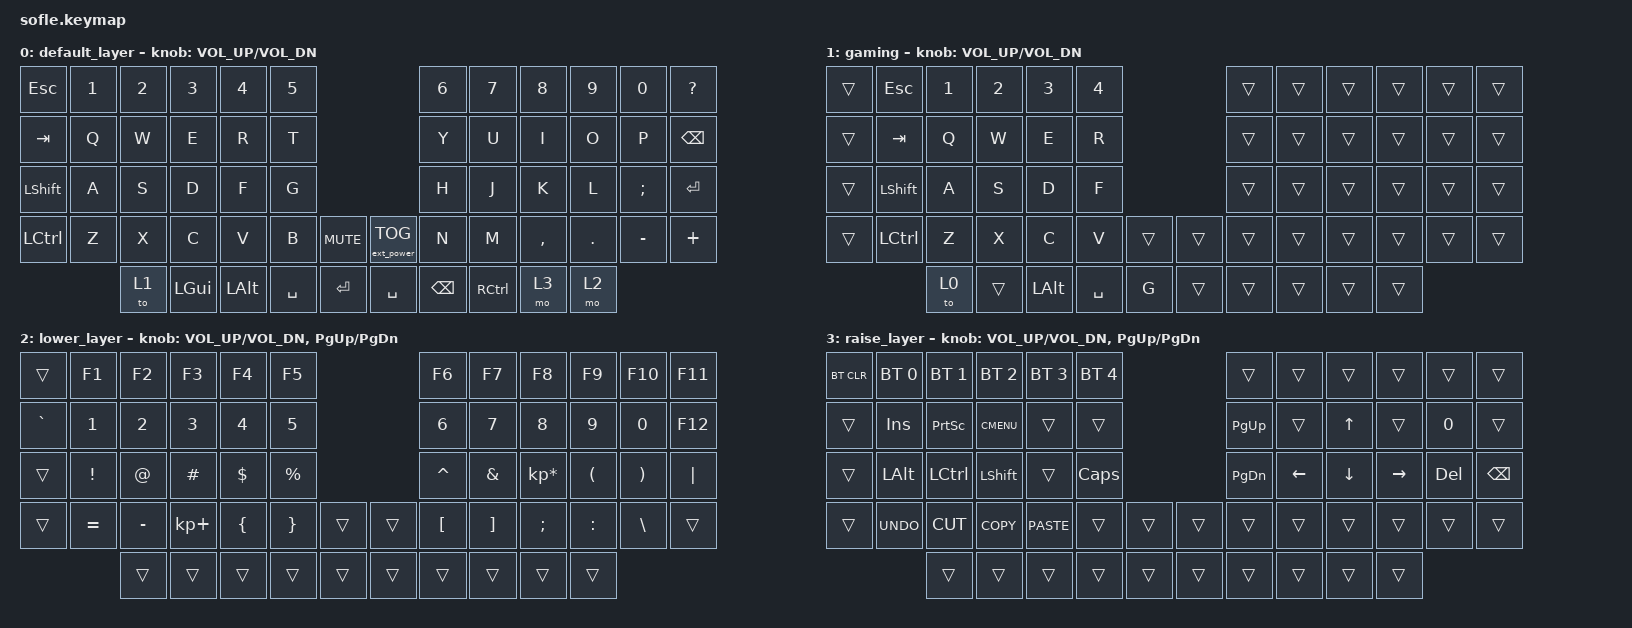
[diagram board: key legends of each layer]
/*
 * Copyright (c) 2020 The ZMK Contributors
 *
 * SPDX-License-Identifier: MIT
 */

#include <behaviors.dtsi>
#include <dt-bindings/zmk/bt.h>
#include <dt-bindings/zmk/ext_power.h>
#include <dt-bindings/zmk/keys.h>

/ {
    combos {
        compatible = "zmk,combos";

        smerdo_reset {
            bindings = <&sys_reset>;
            key-positions = <42 36 24>;
        };
    };

    keymap {
        compatible = "zmk,keymap";

        default_layer {
            // ------------------------------------------------------------------------------------------------------------
            // |  `    |  1  |  2  |  3   |  4   |  5   |                         |  6   |  7    |  8    |  9   |   0   |       |
            // |  ESC  |  Q  |  W  |  E   |  R   |  T   |                         |  Y   |  U    |  I    |  O   |   P   | BKSPC |
            // |  TAB  |  A  |  S  |  D   |  F   |  G   |                         |  H   |  J    |  K    |  L   |   ;   |   '   |
            // | SHIFT |  Z  |  X  |  C   |  V   |  B   |  MUTE  |        | ExtPw |  N   |  M    |  ,    |  .   |   /   | SHIFT |
            //               | GUI | ALT  | CTRL | LOWER|  ENTER |        | SPACE | RAISE| CTRL  | ALT   | GUI  |

            bindings = <
&kp ESC         &kp N1  &kp N2  &kp N3        &kp N4        &kp N5                                      &kp N6         &kp N7     &kp N8     &kp N9   &kp N0     &kp QUESTION
&kp TAB         &kp Q   &kp W   &kp E         &kp R         &kp T                                       &kp Y          &kp U      &kp I      &kp O    &kp P      &kp BSPC
&kp LEFT_SHIFT  &kp A   &kp S   &kp D         &kp F         &kp G                                       &kp H          &kp J      &kp K      &kp L    &kp SEMI   &kp ENTER
&kp LCTRL       &kp Z   &kp X   &kp C         &kp V         &kp B      &kp C_MUTE    &ext_power EP_TOG  &kp N          &kp M      &kp COMMA  &kp DOT  &kp MINUS  &kp PLUS
                        &to 1   &kp LEFT_GUI  &kp LEFT_ALT  &kp SPACE  &kp RET       &kp SPACE          &kp BACKSPACE  &kp RCTRL  &mo 3      &mo 2
            >;

            sensor-bindings = <&inc_dec_kp C_VOL_UP C_VOL_DN>;
        };

        gaming {
            bindings = <
&trans  &kp ESC         &kp N1  &kp N2  &kp N3        &kp N4                       &trans  &trans  &trans  &trans  &trans  &trans
&trans  &kp TAB         &kp Q   &kp W   &kp E         &kp R                        &trans  &trans  &trans  &trans  &trans  &trans
&trans  &kp LEFT_SHIFT  &kp A   &kp S   &kp D         &kp F                        &trans  &trans  &trans  &trans  &trans  &trans
&trans  &kp LCTRL       &kp Z   &kp X   &kp C         &kp V      &trans    &trans  &trans  &trans  &trans  &trans  &trans  &trans
                        &to 0   &trans  &kp LEFT_ALT  &kp SPACE  &kp G     &trans  &trans  &trans  &trans  &trans
            >;

            sensor-bindings = <&inc_dec_kp C_VOL_UP C_VOL_DN>;
        };

        lower_layer {
            // TODO: Some binds are waiting for shifted keycode support.
            // ------------------------------------------------------------------------------------------------------------
            // |       |  F1 |  F2 |  F3  |  F4  |  F5  |                   |  F6  |  F7   |  F8   |  F9  |  F10  |  F11  |
            // | `     |   1 |   2 |   3  |   4  |   5  |                   |   6  |   7   |   8   |   9  |    0  |  F12  |
            // |       |  !  |  @  |  #   |  $   |  %   |                   |  ^   |  &    |  *    |  (   |   )   |   |   |
            // |       |  =  |  -  |  +   |  {   |  }   |        |  |       |  [   |  ]    |  ;    |  :   |   \   |       |
            //               |     |      |      |      |        |  |       |      |       |       |      |

            bindings = <
&trans     &kp F1     &kp F2     &kp F3       &kp F4    &kp F5                       &kp F6     &kp F7    &kp F8           &kp F9     &kp F10   &kp F11
&kp GRAVE  &kp N1     &kp N2     &kp N3       &kp N4    &kp N5                       &kp N6     &kp N7    &kp N8           &kp N9     &kp N0    &kp F12
&trans     &kp EXCL   &kp AT     &kp HASH     &kp DLLR  &kp PRCNT                    &kp CARET  &kp AMPS  &kp KP_MULTIPLY  &kp LPAR   &kp RPAR  &kp PIPE
&trans     &kp EQUAL  &kp MINUS  &kp KP_PLUS  &kp LBRC  &kp RBRC   &trans    &trans  &kp LBKT   &kp RBKT  &kp SEMI         &kp COLON  &kp BSLH  &trans
                      &trans     &trans       &trans    &trans     &trans    &trans  &trans     &trans    &trans           &trans
            >;

            sensor-bindings = <&inc_dec_kp C_VOL_UP C_VOL_DN &inc_dec_kp PG_UP PG_DN>;
        };

        raise_layer {
            // ------------------------------------------------------------------------------------------------------------
            // |BTCLR| BT1  | BT2  |  BT3  |  BT4  |  BT5 |                |      |      |       |      |       |       |
            // |     | INS  | PSCR | GUI   |       |      |                | PGUP |      |   ^   |      |       |       |
            // |     | ALT  | CTRL | SHIFT |       | CAPS |                | PGDN |   <- |   v   |  ->  |  DEL  | BKSPC |
            // |     | UNDO | CUT  | COPY  | PASTE |      |      |  |      |      |      |       |      |       |       |
            //              |      |       |       |      |      |  |      |      |      |       |      |

            bindings = <
&bt BT_CLR  &bt BT_SEL 0  &bt BT_SEL 1  &bt BT_SEL 2  &bt BT_SEL 3  &bt BT_SEL 4                    &trans     &trans    &trans    &trans     &trans   &trans
&trans      &kp INS       &kp PSCRN     &kp K_CMENU   &trans        &trans                          &kp PG_UP  &trans    &kp UP    &trans     &kp N0   &trans
&trans      &kp LALT      &kp LCTRL     &kp LSHFT     &trans        &kp CLCK                        &kp PG_DN  &kp LEFT  &kp DOWN  &kp RIGHT  &kp DEL  &kp BSPC
&trans      &kp K_UNDO    &kp K_CUT     &kp K_COPY    &kp K_PASTE   &trans        &trans    &trans  &trans     &trans    &trans    &trans     &trans   &trans
                          &trans        &trans        &trans        &trans        &trans    &trans  &trans     &trans    &trans    &trans
            >;

            sensor-bindings = <&inc_dec_kp C_VOL_UP C_VOL_DN &inc_dec_kp PG_UP PG_DN>;
        };
    };
};
